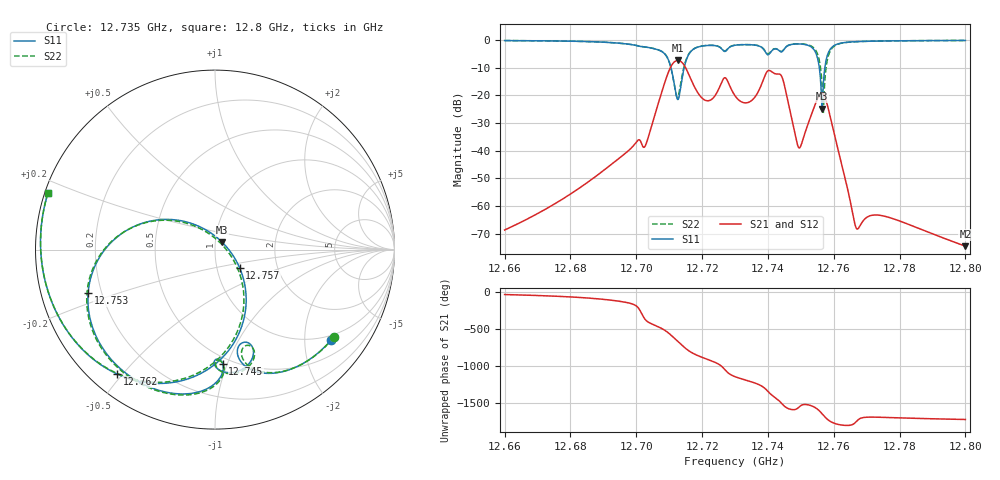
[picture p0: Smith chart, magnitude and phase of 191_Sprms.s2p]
! TOUCHSTONE file generated by CST MICROWAVE STUDIO
! Date and time: Wed Jul 31 20:34:26 2024
! Project name: WaveGuide_BPF-Ver4.1_U-shape_Ku_T3_C4_CWA_2.cst
! Parameters = {cavity_h=16; cavity_l0=10; cavity_l1=15.2194; cavity_l2=16.8724; cavity_l3=17.0619; cavity_l4=17.294; cavity_l5=17.1156; cavity_l6=17.6397; cavity_r=2.5; cavity_screw_l=0.5; cavity_screw_r=1.5; cavity_w=8; iris_h00=0; iris_h01=8.8158; iris_h112=0; iris_h12=5.5908; iris_h211=3.6583; i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
! Header version: 2018
! Port assignment regex: !\s*Touchstone port\s*([0-9]+)\s*=\s*(CST MWS port|CST DS port)\s*([0-9]+|Zmin|Zmax)\s*\(\"(.*)\"\)(\s*mode\s*([0-9]+))?.*
! Touchstone port assignment:
! Touchstone port 1 = CST MWS port 1 ("")
! Touchstone port 2 = CST MWS port 2 ("")
# GHz S RI R 50
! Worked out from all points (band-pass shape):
!   5001 points, 12.66 GHz to 12.8 GHz, reference 50 ohm
!   highest |S21| = -7.40 dB at 12.713 GHz (marker M1); lowest = -74.6 dB at 12.8 GHz (marker M2)
!   |S21| within 3 dB of the highest: 12.7102 GHz to 12.71516 GHz (4.959 MHz wide, 0.039 % of centre)
!   lowest |S11| = -24.8 dB at 12.756 GHz (marker M3), VSWR 1.12, Z = 54 + j4.45 ohm
!   |S11| at or under -10 dB: 12.71054 GHz to 12.71454 GHz (4.004 MHz wide, 0.0315 % of centre); 12.75562 GHz to 12.7573 GHz (1.685 MHz wide, 0.0132 % of centre)
!   |S22| runs from -26.5 to -0.2 dB; largest |S21 - S12| = 1e-09
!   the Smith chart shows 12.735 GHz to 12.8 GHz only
!   S11 on the Smith chart (normalised r, x): 12.735 GHz: 0.87, -2.67; 12.745 GHz: 0.45, -0.96; 12.753 GHz: 0.15, -0.16; 12.757 GHz: 1.29, -0.27; 12.762 GHz: 0.08, -0.48; 12.8 GHz: 0.01, +0.16
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12.66  0.3881 0.8978  0.000324 -0.000171  0.000324 -0.000171  0.3888 0.8976
12.68335  0.8368 0.4377  0.000799 -0.00208  0.000799 -0.00208  0.8365 0.4388
12.69604  0.754 -0.4199  -0.00505 -0.00661  -0.00505 -0.00661  0.7574 -0.4157
12.70245  -0.0333 -0.7525  0.0114 0.00194  0.0114 0.00194  -0.022 -0.7552
12.70668  -0.6354 -0.1906  -0.0183 -0.0687  -0.0183 -0.0687  -0.6324 -0.2086
12.70953  -0.3146 0.3484  -0.2408 0.00486  -0.2408 0.00486  -0.3276 0.3374
12.71264  -0.0712 0.0443  0.2484 0.3469  0.2484 0.3469  -0.0877 0.0357
12.71656  -0.5381 0.3029  0.00207 -0.198  0.00207 -0.198  -0.5409 0.315
12.7209  0.0246 0.7906  -0.0815 -0.00458  -0.0815 -0.00458  0.0195 0.7935
12.73  0.7894 0.1601  0.0431 -0.0883  0.0431 -0.0883  0.79 0.1705
12.73507  0.6478 -0.5027  -0.0576 -0.0566  -0.0576 -0.0566  0.661 -0.4891
12.74456  0.0431 -0.6373  0.0124 -0.1916  0.0124 -0.1916  0.0483 -0.6453
12.74932  -0.4681 -0.7095  -0.00608 -0.00966  -0.00608 -0.00966  -0.4547 -0.7243
12.75321  -0.7068 -0.2405  -0.00748 -0.0441  -0.00748 -0.0441  -0.7142 -0.2987
12.75335  -0.7038 -0.2136  -0.00981 -0.0461  -0.00981 -0.0461  -0.7146 -0.2743
12.75646  0.0399 0.0411  -0.0967 0.0519  -0.0967 0.0519  -0.0907 0.1213
12.75688  0.1375 -0.1022  -0.0678 0.0793  -0.0678 0.0793  0.0483 0.0174
12.76231  -0.5462 -0.6927  0.00599 -9.49e-05  0.00599 -9.49e-05  -0.5313 -0.6959
12.76699  -0.801 -0.4841  0.000238 0.000304  0.000238 0.000304  -0.7987 -0.4858
12.77668  -0.954 -0.1409  -0.000116 0.000612  -0.000116 0.000612  -0.9541 -0.1397
12.79994  -0.9309 0.3149  5.12e-05 0.000181  5.12e-05 0.000181  -0.9301 0.3171
12.8  -0.9306 0.3156  5.12e-05 0.00018  5.12e-05 0.00018  -0.9299 0.3178
